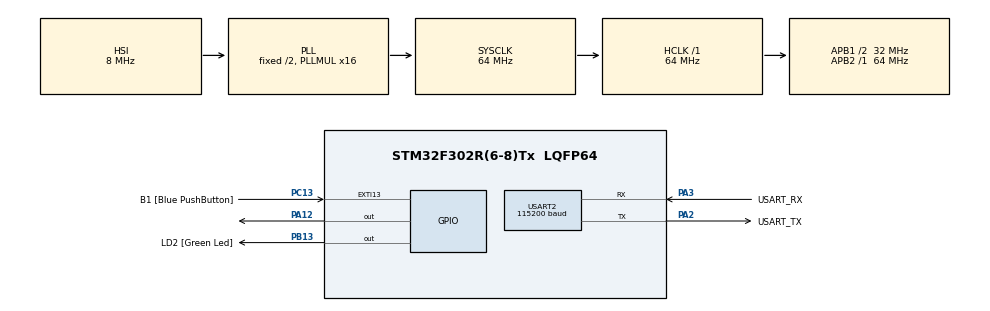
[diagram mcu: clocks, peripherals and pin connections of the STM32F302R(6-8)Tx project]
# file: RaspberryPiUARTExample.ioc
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Mcu.Family=STM32F3
Mcu.Name=STM32F302R(6-8)Tx
Mcu.Package=LQFP64
NVIC.PriorityGroup=NVIC_PRIORITYGROUP_0
PA12.Signal=GPIO_Output
PA13.GPIO_Label=TMS
PA13.Mode=Serial_Wire
PA13.Signal=SYS_JTMS-SWDIO
PA14.GPIO_Label=TCK
PA14.Mode=Serial_Wire
PA14.Signal=SYS_JTCK-SWCLK
PA2.GPIO_Label=USART_TX
PA2.GPIO_Mode=GPIO_MODE_AF_PP
PA2.GPIO_PuPd=GPIO_NOPULL
PA2.GPIO_Speed=GPIO_SPEED_FREQ_LOW
PA2.Mode=Asynchronous
PA2.Signal=USART2_TX
PA3.GPIO_Label=USART_RX
PA3.GPIO_Mode=GPIO_MODE_AF_PP
PA3.GPIO_PuPd=GPIO_NOPULL
PA3.GPIO_Speed=GPIO_SPEED_FREQ_LOW
PA3.Mode=Asynchronous
PA3.Signal=USART2_RX
PB13.GPIO_Label=LD2 [Green Led]
PB13.Signal=GPIO_Output
PB3.GPIO_Label=SWO
PB3.Mode=Trace_Asynchronous_SW
PB3.Signal=SYS_JTDO-TRACESWO
PC13.GPIO_Label=B1 [Blue PushButton]
PC13.GPIO_ModeDefaultEXTI=GPIO_MODE_IT_FALLING
PC13.Signal=GPXTI13
PC14\ -\ OSC32_IN.Mode=LSE-External-Oscillator
PC14\ -\ OSC32_IN.Signal=RCC_OSC32_IN
PC15\ -\ OSC32_OUT.Mode=LSE-External-Oscillator
PC15\ -\ OSC32_OUT.Signal=RCC_OSC32_OUT
PF0-OSC_IN.Mode=HSE-External-Clock-Source
PF0-OSC_IN.Signal=RCC_OSC_IN
PF1-OSC_OUT.Signal=RCC_OSC_OUT
ProjectManager.HeapSize=0x200
ProjectManager.StackSize=0x400
ProjectManager.TargetToolchain=STM32CubeIDE
RCC.AHBFreq_Value=64000000
RCC.APB1CLKDivider=RCC_HCLK_DIV2
RCC.APB1Freq_Value=32000000
RCC.APB1TimFreq_Value=64000000
RCC.APB2Freq_Value=64000000
RCC.APB2TimFreq_Value=64000000
RCC.CortexFreq_Value=64000000
RCC.HCLKFreq_Value=64000000
RCC.HSE_VALUE=8000000
RCC.HSI_VALUE=8000000
RCC.PLLM=8
RCC.PLLMUL=RCC_PLL_MUL16
RCC.PLLN=336
RCC.PLLP=RCC_PLLP_DIV4
RCC.PLLQ=7
RCC.RCC_PLLsource_Clock_Source_FROM_HSE=RCC_HSE_PREDIV_DIV2
RCC.SYSCLKFreq_VALUE=64000000
RCC.SYSCLKSourceVirtual=RCC_SYSCLKSOURCE_PLLCLK
RCC.USBFreq_Value=64000000
USART2.BaudRate=115200
USART2.VirtualMode-Asynchronous=VM_ASYNC
board=NUCLEO-F302R8

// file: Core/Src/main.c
/* USER CODE BEGIN Header */
/**
 ******************************************************************************
 * @file           : main.c
 * @brief          : Main program body
 ******************************************************************************
 * @attention
 *
 * Copyright (c) 2024 STMicroelectronics.
 * All rights reserved.
 *
 * This software is licensed under terms that can be found in the LICENSE file
 * in the root directory of this software component.
 * If no LICENSE file comes with this software, it is provided AS-IS.
 *
 ******************************************************************************
 */
/* USER CODE END Header */
#include "main.h"

/* USER CODE BEGIN Includes */
#include <stdio.h>
#include <string.h>
#include <math.h>
#include <stdint.h>
#include <stdarg.h>
/* USER CODE END Includes */

UART_HandleTypeDef huart2;

void SystemClock_Config(void);
static void MX_GPIO_Init(void);
static void MX_USART2_UART_Init(void);

/* USER CODE BEGIN 0 */
union Data {
	int i;
	float f;
	uint8_t byte[8];
};
union Data VehicleVelocity;
union Data RPM;
union Data HeatSinkTemp;
union Data BMS_PackTemp;
union Data BMS_PackVoltage;
union Data BMS_CurrentDraw;

// driver control variables
struct DigitalInput {
	uint16_t Drive;
	uint16_t Neutral;
	uint16_t Reverse;
	uint16_t CC_reset;
	uint16_t CC_set;
	uint16_t CC_enable;
	uint16_t brake;
	uint16_t regen_en;
	uint16_t brake_light; // this does not require a state variable
	uint16_t r_signal;
	uint16_t l_signal;
	uint16_t hazards;
	uint16_t ParkingBrake;
};

// digital input variables
struct DigitalInput input;

// state variables
struct DigitalInput state;

/* USER CODE END 0 */

int main(void)
{

  /* USER CODE BEGIN 1 */
	int currtick;
	int prevTick;
	uint8_t buf[21];
	uint8_t floatbuf[4];
	float f = 4.2;
  /* USER CODE END 1 */

  /* MCU Configuration--------------------------------------------------------*/

  /* Reset of all peripherals, Initializes the Flash interface and the Systick. */
  HAL_Init();

  /* Configure the system clock */
  SystemClock_Config();

  /* Initialize all configured peripherals */
  MX_GPIO_Init();
  MX_USART2_UART_Init();
  /* USER CODE BEGIN 2 */
	VehicleVelocity.f = 2;
	HeatSinkTemp.f = 3;
	BMS_PackTemp.i = 4;
	BMS_PackVoltage.f = 5;
	BMS_CurrentDraw.f = 6;

	state.ParkingBrake = 1;               // Parking brake st
	state.r_signal = 1;                   // Right turning signal
	state.l_signal = 1;                   // Left turning signal
	state.hazards = 1;
	uint8_t i = 3;
	char charbuf[64];

	void printmsg(char *format,...) {
	    char str[80];

	    /*Extract the the argument list using VA apis */
	    va_list args;
	    va_start(args, format);
	    vsprintf(str, format,args);
	    HAL_UART_Transmit(&huart2,(uint8_t *)str, strlen(str),HAL_MAX_DELAY);
	    va_end(args);
	}

  /* USER CODE END 2 */

  /* Infinite loop */
	while (1) {

    /* USER CODE BEGIN 3 */

		currtick = HAL_GetTick();

		memcpy(buf, &VehicleVelocity.f, sizeof(float));  // Vehicle velocity

			memcpy(buf + 4, &HeatSinkTemp.f, sizeof(float)); // Heat sink temp

			// Cast BMS_PackTemp to float before copying
			float BMS_PackTemp_f = (float) BMS_PackTemp.i;

			memcpy(buf + 8, &BMS_PackTemp_f, sizeof(float));    // BMS pack temp
			memcpy(buf + 12, &BMS_PackVoltage.f, sizeof(float)); // BMS pack voltage
			memcpy(buf + 16, &BMS_CurrentDraw.f, sizeof(float)); // Current draw

		if (currtick - prevTick > 2000) {

			// Prepare the buffer by copying each float's bytes

			//VehicleVelocity.f *= 2.237;						   // convert from m/s to MPH

			// Copy states that are stored as integers
			//buf[20] = (uint8_t) state.ParkingBrake;                 // Parking brake state
			//buf[21] = (uint8_t) state.r_signal;                    // Right turning signal
			//buf[22] = (uint8_t) state.l_signal;                     // Left turning signal
			//buf[23] = (uint8_t) state.hazards;                                  // Hazards

			// Gear selection stored as an integer
			/*
			if (state.Reverse) {
				buf[24] = -1;
			} else if (state.Neutral) {
				buf[24] = 0;
			} else {
				buf[24] = 1;
			}
*/

			//HAL_UART_Transmit(&huart2, buf, sizeof(buf), 1000);

			//memcpy(floatbuf, &f, sizeof(float));
			//HAL_UART_Transmit(&huart2, floatbuf, sizeof(float), 1000);

			HAL_GPIO_TogglePin(GPIOB, GPIO_PIN_13);

			//printmsg("Hello World\r\n");

			// change huartX to your initialized HAL UART peripheral
			//buf[0] = 3;

			HAL_UART_Transmit(&huart2, buf, 20, 1000);

			//printmsg("%d",i);

			prevTick = currtick;
		}

	}
  /* USER CODE END 3 */
}

void SystemClock_Config(void)
{
  RCC_OscInitTypeDef RCC_OscInitStruct = {0};
  RCC_ClkInitTypeDef RCC_ClkInitStruct = {0};

  /** Initializes the RCC Oscillators according to the specified parameters
  * in the RCC_OscInitTypeDef structure.
  */
  RCC_OscInitStruct.OscillatorType = RCC_OSCILLATORTYPE_HSI;
  RCC_OscInitStruct.HSIState = RCC_HSI_ON;
  RCC_OscInitStruct.HSICalibrationValue = RCC_HSICALIBRATION_DEFAULT;
  RCC_OscInitStruct.PLL.PLLState = RCC_PLL_ON;
  RCC_OscInitStruct.PLL.PLLSource = RCC_PLLSOURCE_HSI;
  RCC_OscInitStruct.PLL.PLLMUL = RCC_PLL_MUL16;
  if (HAL_RCC_OscConfig(&RCC_OscInitStruct) != HAL_OK)
  {
    Error_Handler();
  }

  /** Initializes the CPU, AHB and APB buses clocks
  */
  RCC_ClkInitStruct.ClockType = RCC_CLOCKTYPE_HCLK|RCC_CLOCKTYPE_SYSCLK
                              |RCC_CLOCKTYPE_PCLK1|RCC_CLOCKTYPE_PCLK2;
  RCC_ClkInitStruct.SYSCLKSource = RCC_SYSCLKSOURCE_PLLCLK;
  RCC_ClkInitStruct.AHBCLKDivider = RCC_SYSCLK_DIV1;
  RCC_ClkInitStruct.APB1CLKDivider = RCC_HCLK_DIV2;
  RCC_ClkInitStruct.APB2CLKDivider = RCC_HCLK_DIV1;

  if (HAL_RCC_ClockConfig(&RCC_ClkInitStruct, FLASH_LATENCY_2) != HAL_OK)
  {
    Error_Handler();
  }
}

static void MX_USART2_UART_Init(void)
{

  huart2.Instance = USART2;
  huart2.Init.BaudRate = 115200;
  huart2.Init.WordLength = UART_WORDLENGTH_8B;
  huart2.Init.StopBits = UART_STOPBITS_1;
  huart2.Init.Parity = UART_PARITY_NONE;
  huart2.Init.Mode = UART_MODE_TX_RX;
  huart2.Init.HwFlowCtl = UART_HWCONTROL_NONE;
  huart2.Init.OverSampling = UART_OVERSAMPLING_16;
  huart2.Init.OneBitSampling = UART_ONE_BIT_SAMPLE_DISABLE;
  huart2.AdvancedInit.AdvFeatureInit = UART_ADVFEATURE_NO_INIT;
  if (HAL_UART_Init(&huart2) != HAL_OK)
  {
    Error_Handler();
  }

}

static void MX_GPIO_Init(void)
{
  GPIO_InitTypeDef GPIO_InitStruct = {0};

  /* GPIO Ports Clock Enable */
  __HAL_RCC_GPIOC_CLK_ENABLE();
  __HAL_RCC_GPIOF_CLK_ENABLE();
  __HAL_RCC_GPIOA_CLK_ENABLE();
  __HAL_RCC_GPIOB_CLK_ENABLE();

  /*Configure GPIO pin Output Level */
  HAL_GPIO_WritePin(LD2_GPIO_Port, LD2_Pin, GPIO_PIN_RESET);

  /*Configure GPIO pin Output Level */
  HAL_GPIO_WritePin(GPIOA, GPIO_PIN_12, GPIO_PIN_RESET);

  /*Configure GPIO pin : B1_Pin */
  GPIO_InitStruct.Pin = B1_Pin;
  GPIO_InitStruct.Mode = GPIO_MODE_IT_FALLING;
  GPIO_InitStruct.Pull = GPIO_NOPULL;
  HAL_GPIO_Init(B1_GPIO_Port, &GPIO_InitStruct);

  /*Configure GPIO pin : LD2_Pin */
  GPIO_InitStruct.Pin = LD2_Pin;
  GPIO_InitStruct.Mode = GPIO_MODE_OUTPUT_PP;
  GPIO_InitStruct.Pull = GPIO_NOPULL;
  GPIO_InitStruct.Speed = GPIO_SPEED_FREQ_LOW;
  HAL_GPIO_Init(LD2_GPIO_Port, &GPIO_InitStruct);

  /*Configure GPIO pin : PA12 */
  GPIO_InitStruct.Pin = GPIO_PIN_12;
  GPIO_InitStruct.Mode = GPIO_MODE_OUTPUT_PP;
  GPIO_InitStruct.Pull = GPIO_NOPULL;
  GPIO_InitStruct.Speed = GPIO_SPEED_FREQ_LOW;
  HAL_GPIO_Init(GPIOA, &GPIO_InitStruct);

}

void Error_Handler(void)
{
	__disable_irq();
	while (1) {
	}
}
